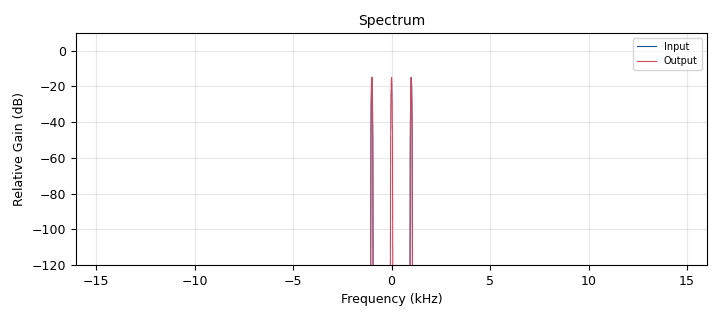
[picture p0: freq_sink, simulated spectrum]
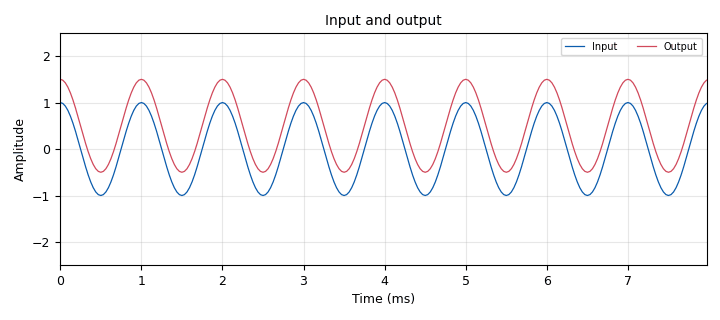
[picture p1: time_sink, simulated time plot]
options:
  parameters:
    author: GNU Radio Intro Workshop
    description: A custom block written in Python, stored inside the .grc file
    generate_options: qt_gui
    generator_class_name: PythonQtGuiGenerator
    generator_module: gnuradio.grc.workflows.python_qt_gui
    id: embedded_python_block
    output_language: python
    title: Embedded Python Block
  states: {}

blocks:
- name: offset
  id: variable_qtgui_range
  parameters:
    gui_hint: 0,0,1,1
    label: DC offset
    start: '-1'
    step: '0.05'
    stop: '1'
    value: '0.5'
  states: {}
- name: samp_rate
  id: variable
  parameters:
    value: '32000'
  states: {}
- name: dc_offset_blk
  id: epy_block
  parameters:
    _source_code: |
      """
      Embedded Python Block: add a DC offset to every sample.

      GNU Radio calls work() over and over with a chunk of input samples and a
      buffer to fill with output samples.  A sync_block produces exactly one
      output sample for every input sample.
      """

      import numpy as np
      from gnuradio import gr


      class blk(gr.sync_block):  # other base classes are basic_block, decim_block, interp_block
          """DC Offset - adds a constant value to every sample"""

          def __init__(self, dc_offset=0.5):  # only default arguments here
              """arguments to this function show up as parameters in GRC"""
              gr.sync_block.__init__(
                  self,
                  name='DC Offset',   # will show up in GRC
                  in_sig=[np.float32],
                  out_sig=[np.float32]
              )
              # if an attribute with the same name as a parameter is found,
              # a callback is registered (properties work, too).
              self.dc_offset = dc_offset

          def work(self, input_items, output_items):
              """add dc_offset to every input sample"""
              output_items[0][:] = input_items[0] + self.dc_offset
              return len(output_items[0])
    dc_offset: offset
  states: {}
- name: freq_sink
  id: qtgui_freq_sink_x
  parameters:
    bw: samp_rate
    fc: '0'
    fftsize: '2048'
    gui_hint: 2,0,1,1
    label1: '"Input"'
    label2: '"Output"'
    name: '"Spectrum"'
    nconnections: '2'
    type: float
    ymin: '-120'
  states: {}
- name: sig
  id: analog_sig_source_x
  parameters:
    amp: '1'
    freq: '1000'
    offset: '0'
    phase: '0'
    samp_rate: samp_rate
    type: float
    waveform: analog.GR_COS_WAVE
  states: {}
- name: throttle
  id: blocks_throttle2
  parameters:
    samples_per_second: samp_rate
    type: float
  states: {}
- name: time_sink
  id: qtgui_time_sink_x
  parameters:
    gui_hint: 1,0,1,1
    label1: '"Input"'
    label2: '"Output"'
    name: '"Input and output"'
    nconnections: '2'
    size: '256'
    srate: samp_rate
    type: float
    ymax: '2.5'
    ymin: '-2.5'
  states: {}

connections:
- [dc_offset_blk, '0', freq_sink, '1']
- [dc_offset_blk, '0', time_sink, '1']
- [sig, '0', throttle, '0']
- [throttle, '0', dc_offset_blk, '0']
- [throttle, '0', freq_sink, '0']
- [throttle, '0', time_sink, '0']

metadata:
  file_format: 1
  grc_version: v3.11.0.0git-1029-g3c48f5e2
